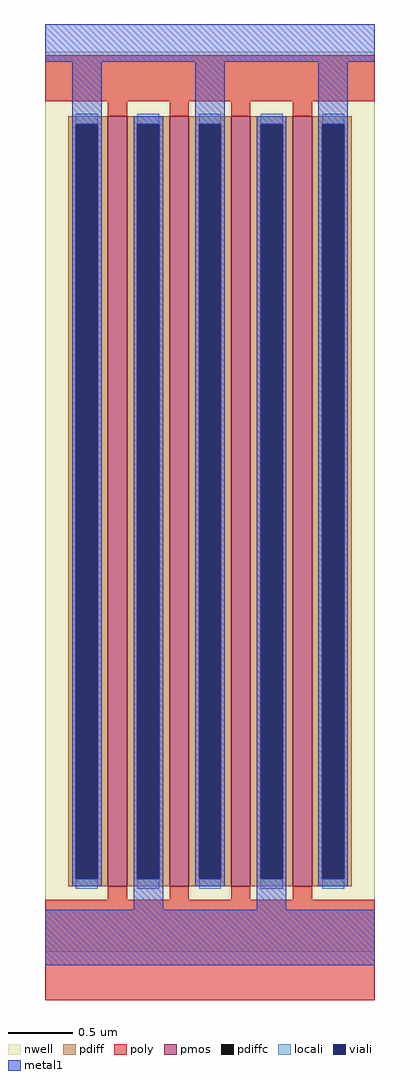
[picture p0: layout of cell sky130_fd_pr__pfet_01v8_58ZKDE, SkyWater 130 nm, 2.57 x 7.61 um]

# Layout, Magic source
magic
tech sky130A
magscale 1 2
<< nwell >>
rect -257 -702 257 701
<< pmos >>
rect -159 -600 -129 600
rect -63 -600 -33 600
rect 33 -600 63 600
rect 129 -600 159 600
<< pdiff >>
rect -221 588 -159 600
rect -221 -588 -209 588
rect -175 -588 -159 588
rect -221 -600 -159 -588
rect -129 588 -63 600
rect -129 -588 -113 588
rect -79 -588 -63 588
rect -129 -600 -63 -588
rect -33 588 33 600
rect -33 -588 -17 588
rect 17 -588 33 588
rect -33 -600 33 -588
rect 63 588 129 600
rect 63 -588 79 588
rect 113 -588 129 588
rect 63 -600 129 -588
rect 159 588 221 600
rect 159 -588 175 588
rect 209 -588 221 588
rect 159 -600 221 -588
<< pdiffc >>
rect -209 -588 -175 588
rect -113 -588 -79 588
rect -17 -588 17 588
rect 79 -588 113 588
rect 175 -588 209 588
<< poly >>
rect -257 624 257 695
rect -159 600 -129 624
rect -63 600 -33 624
rect 33 600 63 624
rect 129 600 159 624
rect -159 -621 -129 -600
rect -63 -621 -33 -600
rect 33 -621 63 -600
rect 129 -621 159 -600
rect -257 -777 257 -621
<< locali >>
rect -209 588 -175 604
rect -209 -604 -175 -588
rect -113 588 -79 604
rect -113 -604 -79 -588
rect -17 588 17 604
rect -17 -604 17 -588
rect 79 588 113 604
rect 79 -604 113 -588
rect 175 588 209 604
rect 175 -604 209 -588
<< viali >>
rect -209 -588 -175 588
rect -113 -588 -79 588
rect -17 -588 17 588
rect 79 -588 113 588
rect 175 -588 209 588
<< metal1 >>
rect -257 685 257 744
rect -215 588 -169 685
rect -215 -588 -209 588
rect -175 -588 -169 588
rect -215 -600 -169 -588
rect -119 588 -73 600
rect -119 -588 -113 588
rect -79 -588 -73 588
rect -119 -636 -73 -588
rect -23 588 23 685
rect -23 -588 -17 588
rect 17 -588 23 588
rect -23 -600 23 -588
rect 73 588 119 600
rect 73 -588 79 588
rect 113 -588 119 588
rect 73 -636 119 -588
rect 169 588 215 685
rect 169 -588 175 588
rect 209 -588 215 588
rect 169 -600 215 -588
rect -257 -723 257 -636
<< properties >>
string gencell sky130_fd_pr__pfet_01v8
string parameters w 6 l 0.15 m 1 nf 4 diffcov 100 polycov 100 guard 0 glc 0 grc 0 gtc 0 gbc 0 tbcov 100 rlcov 100 topc 0 botc 0 poverlap 0 doverlap 1 lmin 0.15 wmin 0.42 compatible {sky130_fd_pr__pfet_01v8  sky130_fd_pr__pfet_01v8_lvt sky130_fd_pr__pfet_01v8_hvt  sky130_fd_pr__pfet_g5v0d10v5} full_metal 0 viasrc 100 viadrn 100 viagate 100 viagb 0 viagr 0 viagl 0 viagt 0
string library sky130
<< end >>
